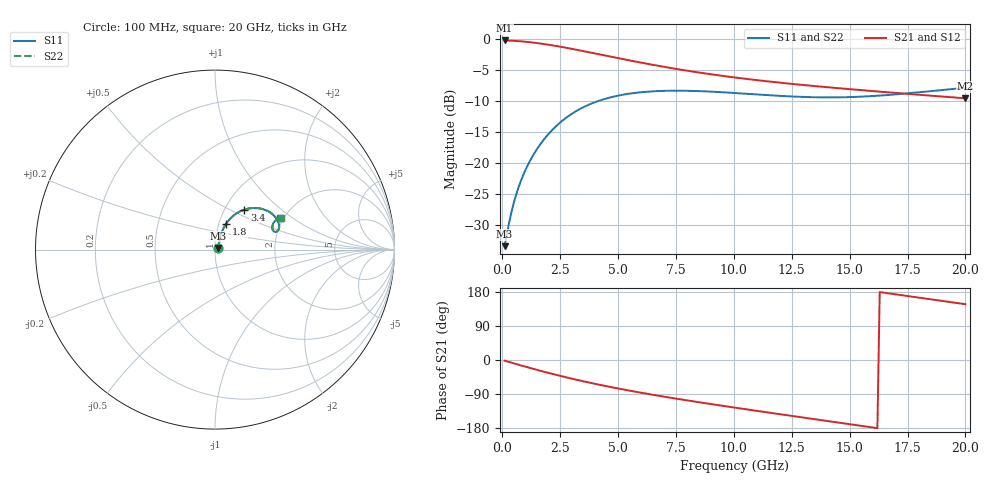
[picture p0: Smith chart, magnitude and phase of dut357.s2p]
! Touchstone file exported from HFSS 2024.1.0
!  File:  C:/UserFiles/LocalFiles/RDL_TSV_Batchsim/temp_RDL_TSV_357_1779639082.aedt
!  Generated:  12:28:02 AM May 25, 2026
!  Design:  RDL_TSV
!  Project:  temp_RDL_TSV_357_1779639082
!  Setup:  Setup1
!  Solution:  Sweep
! Variables:
!  dtsv = 8.03um
!  hbump = 3um
!  htsv = 60.16um
!  ldown = 180.39um
!  lrdl = 678.57um
!  p = 40
!  p1 = 52.44um
!  rhole = 10um
!  subl = 3255.45um
!  t = 450um
!  tdown = 4.57um
!  trdl = 3.92um
!  viad = 10um
!  wdown = 18.82um
!  wrdl = 14.99um
!  xbump = 18um
# GHz S MA R 50.000000
! Terminal data exported
! Port[1] = TM1_1_T1
! Port[2] = TM1_4_T1
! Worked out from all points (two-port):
!   200 points, 100 MHz to 20 GHz, reference 50 ohm
!   highest |S21| = -0.17 dB at 100 MHz (marker M1); lowest = -9.5 dB at 20 GHz (marker M2)
!   |S21| within 3 dB of the highest: start of sweep to 5.186 GHz
!   lowest |S11| = -33.5 dB at 100 MHz (marker M3), VSWR 1.04, Z = 52 + j0.916 ohm
!   |S11| at or under -10 dB: start of sweep to 4.123 GHz
!   |S22| runs from -33.5 to -7.8 dB; largest |S21 - S12| = 1.7e-14
!   S11 on the Smith chart (normalised r, x): 100 MHz: 1.04, +0.02; 1.8 GHz: 1.08, +0.32; 3.4 GHz: 1.23, +0.59; 20 GHz: 1.92, +0.82
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0.1  0.0212 24.6  0.9806 -1.8  0.9806 -1.8  0.0212 24.6
! Gamma 0 0 0 0
! Port Impedance 50 0 50 0
0.4  0.04036 56.4  0.9759 -7.2  0.9759 -7.2  0.04037 56.4
0.6  0.05548 63.2  0.9711 -10.7  0.9711 -10.7  0.05548 63.2
0.8  0.0713 66.6  0.9651 -14.2  0.9651 -14.2  0.0713 66.6
1.2  0.1043 68.7  0.9492 -21.1  0.9492 -21.1  0.1043 68.7
1.5  0.1297 68.2  0.9344 -26.1  0.9344 -26.1  0.1297 68.3
1.8  0.1552 66.9  0.9177 -31.0  0.9177 -31.0  0.1552 66.9
2.2  0.1886 64.2  0.893 -37.3  0.893 -37.3  0.1887 64.2
2.6  0.2204 60.9  0.8666 -43.4  0.8666 -43.4  0.2205 60.9
3.4  0.2764 53.6  0.8113 -54.9  0.8113 -54.9  0.2767 53.7
3.5  0.2826 52.6  0.8044 -56.2  0.8044 -56.2  0.2829 52.7
4.2  0.3199 46.3  0.7567 -65.4  0.7567 -65.4  0.3203 46.4
4.9  0.3474 40.5  0.7116 -74.0  0.7116 -74.0  0.348 40.6
5.8  0.3702 33.9  0.659 -84.3  0.659 -84.3  0.371 34.0
6.8  0.3822 27.9  0.6083 -94.9  0.6083 -94.9  0.3832 28.0
8.4  0.3819 21.0  0.5428 -110.6  0.5428 -110.6  0.3832 21.1
10.1  0.3677 17.0  0.4903 -126.2  0.4903 -126.2  0.3692 17.1
11.7  0.3516 16.3  0.4525 -140.5  0.4525 -140.5  0.3533 16.3
13.4  0.3405 18.0  0.4205 -155.4  0.4205 -155.4  0.3422 18.0
15  0.3412 21.0  0.3956 -169.4  0.3956 -169.4  0.3428 21.0
16.7  0.3553 24.1  0.3724 175.7  0.3724 175.7  0.3567 24.0
20  0.4061 26.1  0.3338 147.3  0.3338 147.3  0.407 25.9
